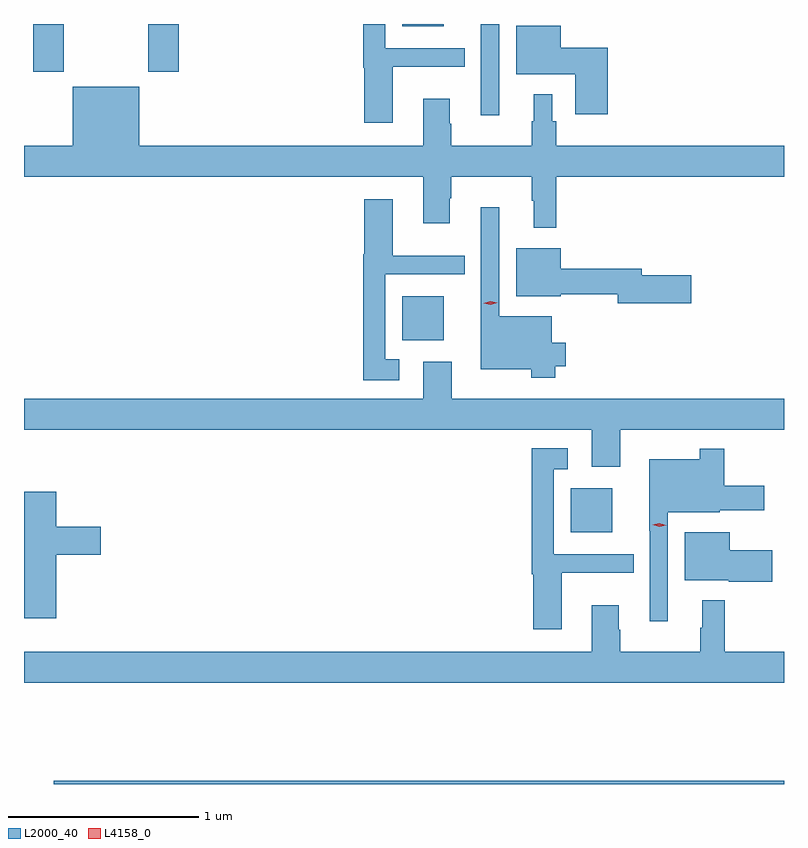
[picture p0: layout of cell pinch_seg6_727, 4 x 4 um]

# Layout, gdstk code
import gdstk
lib = gdstk.Library(unit=1e-6, precision=1e-09)
def R(c, l, rs):  # rectangles x0, y0, x1, y1
    for r in rs: c.add(gdstk.rectangle(r[:2], r[2:], *l))
def P(c, l, *ps):  # polygons
    for p in ps: c.add(gdstk.Polygon(p, *l))
L2000_40 = (2000, 40)
L4158_0 = (4158, 0)

pinch_seg6_727 = lib.new_cell('pinch_seg6_727')
R(pinch_seg6_727, L2000_40, [(504.257,938.812,508.1,938.828), (506.978,940.136,507.196,940.369), (506.09,941.147,506.308,941.38), (504.149,942.561,504.309,942.812), (504.754,942.561,504.914,942.812), (506.09,942.8,506.308,942.812)])
P(pinch_seg6_727, L2000_40, [(506.041,942.587),(506.42,942.587),(506.42,942.684),(506.001,942.684),(506.001,942.812),(505.885,942.812),(505.885,942.581),(505.892,942.581),(505.892,942.291),(506.041,942.291)],
  [(506.601,942.812),(506.504,942.812),(506.504,942.809),(506.505,942.809),(506.505,942.333),(506.601,942.333)],
  [(507.173,942.688),(506.926,942.688),(506.926,942.802),(506.69,942.802),(506.69,942.548),(507.002,942.548),(507.002,942.336),(507.173,942.336)],
  [(506.9,942.008),(508.1,942.008),(508.1,942.172),(506.9,942.172),(506.9,942.299),(506.88,942.299),(506.88,942.442),(506.783,942.442),(506.783,942.299),(506.772,942.299),(506.772,942.172),(506.349,942.172),(506.349,942.287),(506.341,942.287),(506.341,942.418),(506.201,942.418),(506.201,942.172),(504.706,942.172),(504.706,942.481),(504.356,942.481),(504.356,942.172),(504.1,942.172),(504.1,942.008),(506.201,942.008),(506.201,941.763),(506.341,941.763),(506.341,941.894),(506.349,941.894),(506.349,942.008),(506.772,942.008),(506.772,941.882),(506.783,941.882),(506.783,941.739),(506.9,941.739)],
  [(506.074,941.047),(506.001,941.047),(506.001,941.496),(506.42,941.496),(506.42,941.593),(506.041,941.593),(506.041,941.89),(505.892,941.89),(505.892,941.599),(505.885,941.599),(505.885,940.938),(506.074,940.938)],
  [(506.897,941.012),(506.951,941.012),(506.951,941.134),(506.878,941.134),(506.878,941.275),(506.601,941.275),(506.601,941.848),(506.505,941.848),(506.505,941.371),(506.504,941.371),(506.504,940.994),(506.769,940.994),(506.769,940.949),(506.897,940.949)],
  [(507.613,941.489),(507.352,941.489),(507.352,941.525),(506.926,941.525),(506.926,941.632),(506.69,941.632),(506.69,941.378),(506.926,941.378),(506.926,941.389),(507.224,941.389),(507.224,941.342),(507.613,941.342)],
  [(507.238,940.676),(508.1,940.676),(508.1,940.84),(506.35,940.84),(506.35,941.035),(506.201,941.035),(506.201,940.84),(504.1,940.84),(504.1,940.676),(507.089,940.676),(507.089,940.482),(507.238,940.482)],
  [(506.929,939.923),(507.308,939.923),(507.308,940.02),(506.889,940.02),(506.889,940.469),(506.962,940.469),(506.962,940.579),(506.773,940.579),(506.773,939.917),(506.78,939.917),(506.78,939.627),(506.929,939.627)],
  [(507.489,940.241),(507.762,940.241),(507.762,940.253),(507.997,940.253),(507.997,940.383),(507.785,940.383),(507.785,940.576),(507.657,940.576),(507.657,940.522),(507.392,940.522),(507.392,940.145),(507.393,940.145),(507.393,939.669),(507.489,939.669)],
  [(504.269,940.019),(504.505,940.019),(504.505,940.166),(504.269,940.166),(504.269,940.351),(504.101,940.351),(504.101,940.238),(504.1,940.238),(504.1,939.907),(504.101,939.907),(504.101,939.684),(504.269,939.684)],
  [(508.039,940.042),(507.814,940.042),(507.814,940.138),(507.578,940.138),(507.578,939.884),(507.81,939.884),(507.81,939.877),(508.039,939.877)],
  [(508.1,939.508),(507.788,939.508),(507.788,939.778),(507.671,939.778),(507.671,939.635),(507.66,939.635),(507.66,939.508),(507.237,939.508),(507.237,939.623),(507.229,939.623),(507.229,939.754),(507.089,939.754),(507.089,939.508),(504.1,939.508),(504.1,939.344),(508.1,939.344)])
P(pinch_seg6_727, L4158_0, [(507.443,940.165),(507.408,940.176),(507.408,940.176),(507.408,940.176),(507.444,940.185),(507.479,940.173),(507.479,940.173),(507.479,940.173)],
  [(506.556,941.334),(506.52,941.343),(506.519,941.343),(506.52,941.343),(506.555,941.354),(506.591,941.346),(506.591,941.346),(506.591,941.345)])

lib.write_gds('pinch_seg6_727.gds')
